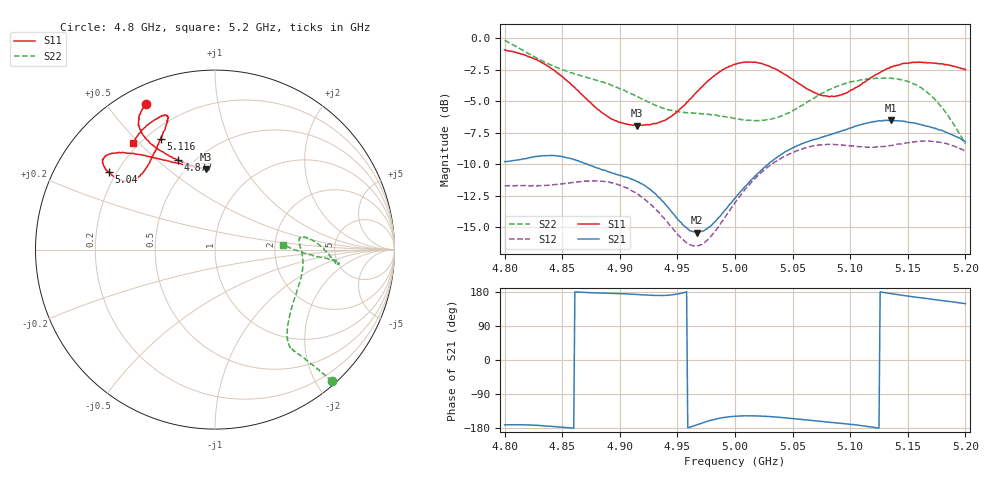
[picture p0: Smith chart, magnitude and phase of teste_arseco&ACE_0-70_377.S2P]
! Network Analyzer HP8722D
! Hewlett-Packard
! Data name: Linha & Wilkinson
! Saver's name: Rodrigo Anjos
! Comments: Teste da utilização de aquisição
! continua pelo VNA HP8722D
! Time and date: 8/5/2025 15:54
!  Frequency  S11  S21  S12  S22
# HZ  S  MA R 50
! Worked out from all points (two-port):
!   401 points, 4.8 GHz to 5.2 GHz, reference 50 ohm
!   highest |S21| = -6.50 dB at 5.135 GHz (marker M1); lowest = -15.4 dB at 4.967 GHz (marker M2)
!   |S21| within 3 dB of the highest: 4.821 GHz to 4.855 GHz (34.08 MHz wide, 0.704 % of centre); 5.036 GHz to end of sweep
!   lowest |S11| = -6.9 dB at 4.915 GHz (marker M3), VSWR 2.63, Z = 30.7 + j34.4 ohm
!   |S11| at or under -10 dB: nowhere
!   |S22| runs from -8.4 to -0.2 dB; largest |S21 - S12| = 0.83
!   S11 on the Smith chart (normalised r, x): 4.8 GHz: 0.08, +0.63; 4.877 GHz: 0.41, +0.59; 5.04 GHz: 0.17, +0.32; 5.116 GHz: 0.26, +0.59; 5.2 GHz: 0.18, +0.48
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4.8e9  0.8974 115.4  0.3238 -171.2  0.2595 -86.3  0.9775 -48.3
4.833e9  0.795 121.8  0.3412 -173.4  0.26 -77.8  0.8094 -50.3
4.85e9  0.7025 121.4  0.3387 -177.6  0.2645 -72.3  0.7492 -51.3
4.867e9  0.5969 117.1  0.3221 178.6  0.2699 -68.4  0.7075 -52.2
4.877e9  0.5409 112.5  0.3096 177.3  0.2716 -67.3  0.6855 -52.4
4.897e9  0.4701 101.8  0.288 175.5  0.264 -67.8  0.6389 -50.9
4.915e9  0.4498 96.2  0.2697 172.7  0.2415 -69.7  0.5854 -46.2
4.934e9  0.4632 100.4  0.2331 170.1  0.2038 -70.5  0.534 -36.7
4.956e9  0.5403 115.8  0.1797 178.2  0.1571 -60.1  0.506 -22.3
4.967e9  0.6128 123.4  0.1695 -170.8  0.1497 -48.0  0.503 -15.5
4.979e9  0.6901 129.6  0.1801 -159.0  0.1639 -34.5  0.496 -9.5
5e9  0.7876 137.1  0.2318 -148.6  0.2229 -21.8  0.4798 -0.3
5.019e9  0.7992 141.5  0.2887 -147.6  0.2819 -19.5  0.4702 5.7
5.04e9  0.7332 143.9  0.3451 -151.6  0.3334 -19.8  0.4896 8.5
5.067e9  0.6145 141.6  0.3943 -159.6  0.373 -22.2  0.5714 3.3
5.088e9  0.589 132.4  0.4219 -165.6  0.3777 -25.3  0.6416 -3.3
5.116e9  0.6846 116.0  0.4615 -176.0  0.3698 -28.3  0.6873 -6.8
5.134e9  0.7579 110.4  0.4703 176.0  0.3742 -30.4  0.6931 -6.1
5.135e9  0.7681 110.5  0.4731 175.5  0.3754 -30.4  0.6933 -6.0
5.16e9  0.8028 111.7  0.4551 164.6  0.3892 -36.5  0.6402 -4.8
5.179e9  0.7909 118.3  0.4316 157.0  0.3852 -42.6  0.5346 -3.2
5.2e9  0.748 127.5  0.3875 148.7  0.3568 -48.3  0.3806 4.2
